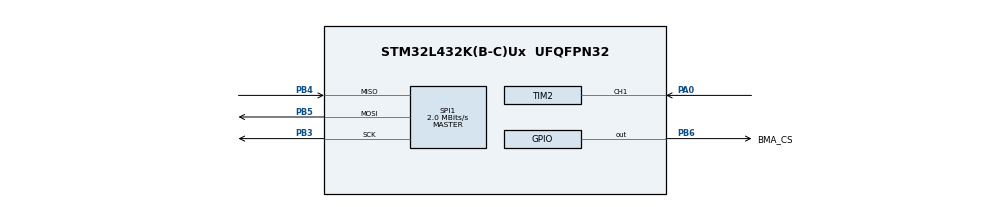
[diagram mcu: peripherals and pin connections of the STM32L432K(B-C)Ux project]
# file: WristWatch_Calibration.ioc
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Mcu.Family=STM32L4
Mcu.Name=STM32L432K(B-C)Ux
Mcu.Package=UFQFPN32
NVIC.PriorityGroup=NVIC_PRIORITYGROUP_4
NVIC.TIM2_IRQn=true\:0\:0\:false\:false\:true\:true\:true
PA0.Signal=S_TIM2_CH1
PA13\ (JTMS-SWDIO).Mode=Serial_Wire
PA13\ (JTMS-SWDIO).Signal=SYS_JTMS-SWDIO
PA14\ (JTCK-SWCLK).Mode=Serial_Wire
PA14\ (JTCK-SWCLK).Signal=SYS_JTCK-SWCLK
PB3\ (JTDO-TRACESWO).Mode=Full_Duplex_Master
PB3\ (JTDO-TRACESWO).Signal=SPI1_SCK
PB4\ (NJTRST).Mode=Full_Duplex_Master
PB4\ (NJTRST).Signal=SPI1_MISO
PB5.Mode=Full_Duplex_Master
PB5.Signal=SPI1_MOSI
PB6.GPIO_Label=BMA_CS
PB6.Signal=GPIO_Output
PC14-OSC32_IN\ (PC14).Mode=LSE-External-Oscillator
PC14-OSC32_IN\ (PC14).Signal=RCC_OSC32_IN
PC15-OSC32_OUT\ (PC15).Mode=LSE-External-Oscillator
PC15-OSC32_OUT\ (PC15).Signal=RCC_OSC32_OUT
ProjectManager.HeapSize=0x200
ProjectManager.StackSize=0x400
ProjectManager.TargetToolchain=STM32CubeIDE
RCC.HSE_VALUE=8000000
RCC.HSI48_VALUE=48000000
RCC.HSI_VALUE=16000000
RCC.MSI_VALUE=4000000
RCC.VCOOutputFreq_Value=32000000
SH.S_TIM2_CH1.0=TIM2_CH1,Input_Capture1_from_TI1
SPI1.CalculateBaudRate=2.0 MBits/s
SPI1.DataSize=SPI_DATASIZE_8BIT
SPI1.Direction=SPI_DIRECTION_2LINES
SPI1.Mode=SPI_MODE_MASTER
SPI1.VirtualType=VM_MASTER
TIM2.Channel-Input_Capture1_from_TI1=TIM_CHANNEL_1
TIM2.ICPrescaler-Input_Capture1_from_TI1=TIM_ICPSC_DIV1
TIM2.Period=0xFFFFFFFF
VP_RTC_VS_RTC_Activate.Mode=RTC_Enabled
VP_TIM2_VS_NoETR.Mode=ClockSourceETR_Mode2_Remap_TIM2
board=custom

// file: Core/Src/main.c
/* USER CODE BEGIN Header */
/**
 ******************************************************************************
 * @file           : main.c
 * @brief          : Main program body
 ******************************************************************************
 * @attention
 *
 * <h2><center>&copy; Copyright (c) 2020 STMicroelectronics.
 * All rights reserved.</center></h2>
 *
 * This software component is licensed by ST under BSD 3-Clause license,
 * the "License"; You may not use this file except in compliance with the
 * License. You may obtain a copy of the License at:
 *                        opensource.org/licenses/BSD-3-Clause
 *
 ******************************************************************************
 */
/* USER CODE END Header */
#include "main.h"

RTC_HandleTypeDef hrtc;

SPI_HandleTypeDef hspi1;

TIM_HandleTypeDef htim2;

void SystemClock_Config(void);
static void MX_GPIO_Init(void);
static void MX_TIM2_Init(void);
static void MX_RTC_Init(void);
static void MX_SPI1_Init(void);

/* USER CODE BEGIN 0 */
enum {
	Init, TestLEDs, WaitForTimer, Finished, Error
} State = Init;
uint8_t Errortype = 0;
uint8_t ErrorVar = 0;
const uint8_t LED_Brightness = 240;

//Maximum of 130000
#define secondsToMeasure 300
int16_t SecondsElapsed = -1;
uint32_t startMeasure = 0;
uint32_t endMeasure = 0;
int64_t diffperppm = 0;

const uint32_t Timerrun_offset = 0x8000 * 8; //Prediv 8
uint32_t DWT_Delay_Init(void) {
	/* Disable TRC */
	CoreDebug->DEMCR &= ~CoreDebug_DEMCR_TRCENA_Msk; // ~0x01000000;
	/* Enable TRC */
	CoreDebug->DEMCR |= CoreDebug_DEMCR_TRCENA_Msk; // 0x01000000;
	/* Disable clock cycle counter */
	DWT->CTRL &= ~DWT_CTRL_CYCCNTENA_Msk; //~0x00000001;
	/* Enable  clock cycle counter */
	DWT->CTRL |= DWT_CTRL_CYCCNTENA_Msk; //0x00000001;
	/* Reset the clock cycle counter value */
	DWT->CYCCNT = 0;
	/* 3 NO OPERATION instructions */
	__ASM volatile ("NOP");
	__ASM volatile ("NOP");
	__ASM volatile ("NOP");
	volatile uint8_t a;
	a++;
	a++;
	a++;
	/* Check if clock cycle counter has started */
	if (DWT->CYCCNT) {
		return 0; /*clock cycle counter started*/
	} else {
		return 1; /*clock cycle counter not started*/
	}
}
__STATIC_INLINE void DWT_Delay_us(volatile uint32_t microseconds) {
	uint32_t clk_cycle_start = DWT->CYCCNT;

	/* Go to number of cycles for system */
	microseconds *= (HAL_RCC_GetHCLKFreq() / 1000000);

	/* Delay till end */
	while ((DWT->CYCCNT - clk_cycle_start) < microseconds)
		;
}
void showLEDs(uint16_t DisplayBuffer[], uint16_t duration) {
	const uint8_t perc = LED_Brightness;
	for (uint16_t j = 0; j < duration; ++j)
		for (uint8_t i = 0; i < 4; ++i) {
			//PORTD=DisplayBuffer[i]|((0b00111100)&(~(1<<(2+i))));
			GPIOA->BSRR = DisplayBuffer[3 - i] | Column[i];
			DWT_Delay_us(perc);
			GPIOA->BSRR = mask_clear;
			DWT_Delay_us(250 - perc);
		}
}

void HAL_TIM_IC_CaptureCallback(TIM_HandleTypeDef *htim) {
	/* Prevent unused argument(s) compilation warning */

	if(SecondsElapsed == -1)
	{
		startMeasure = HAL_TIM_ReadCapturedValue(htim, TIM_CHANNEL_1);
		SecondsElapsed=1;
	}
	else if(SecondsElapsed == secondsToMeasure)
	{
		endMeasure = HAL_TIM_ReadCapturedValue(htim, TIM_CHANNEL_1);
		SecondsElapsed++;
	}
	else if(SecondsElapsed > secondsToMeasure)
	{

	}
	else
	{
		SecondsElapsed++;
	}

}

void writeFlash(uint32_t Address, uint64_t data) {
//	uint32_t Address = FLASH_BASE+FLASH_SIZE-FLASH_PAGE_SIZE;
	HAL_StatusTypeDef status = 0;
	uint64_t currdata = *((uint64_t*) Address);
	if (data != currdata) {
		status = HAL_FLASH_Unlock();
		FLASH_EraseInitTypeDef erase = { 0 };
		erase.TypeErase = FLASH_TYPEERASE_PAGES;
		erase.Banks = FLASH_BANK_1;
		erase.Page = (Address - FLASH_BASE) / PAGESIZE;
		erase.NbPages = 1;
		uint32_t Error = 0;
		status = HAL_FLASHEx_Erase(&erase, &Error);
		status = HAL_FLASH_Program(FLASH_TYPEPROGRAM_DOUBLEWORD, Address, data);
		status = HAL_FLASH_Lock();
		UNUSED(status);
	}
}
uint64_t readFlash(uint32_t Address) {
	return *((uint64_t*) Address);
}

void init_IOs() {
	GPIO_InitTypeDef GPIO_InitStruct = { 0 };

	/* GPIO Ports Clock Enable */
	__HAL_RCC_GPIOC_CLK_ENABLE();
	__HAL_RCC_GPIOA_CLK_ENABLE();
	__HAL_RCC_GPIOB_CLK_ENABLE();
	__HAL_RCC_GPIOH_CLK_ENABLE();

	/*Configure GPIO pin Output Level */
	HAL_GPIO_WritePin(GPIOA,
			LSH01_Pin | LSH10_Pin | HS1_Pin | HS2_Pin | HS8_Pin | HS4_Pin
					| LSM01_Pin | LSM10_Pin, GPIO_PIN_RESET);

	/*Configure GPIO pin Output Level */
	HAL_GPIO_WritePin(BMA_CS_GPIO_Port, BMA_CS_Pin, GPIO_PIN_SET);

	/*Configure GPIO pins : PA1 PA7 PA8 PA15 */
	GPIO_InitStruct.Pin = GPIO_PIN_1 | GPIO_PIN_7 | GPIO_PIN_8 | GPIO_PIN_15;
	GPIO_InitStruct.Mode = GPIO_MODE_ANALOG;
	GPIO_InitStruct.Pull = GPIO_NOPULL;
	HAL_GPIO_Init(GPIOA, &GPIO_InitStruct);

	/*Configure GPIO pins : LSH01_Pin LSH10_Pin HS1_Pin HS2_Pin
	 HS8_Pin HS4_Pin LSM01_Pin LSM10_Pin */
	GPIO_InitStruct.Pin = LSH01_Pin | LSH10_Pin | HS1_Pin | HS2_Pin | HS8_Pin
			| HS4_Pin | LSM01_Pin | LSM10_Pin;
	GPIO_InitStruct.Mode = GPIO_MODE_OUTPUT_PP;
	GPIO_InitStruct.Pull = GPIO_NOPULL;
	GPIO_InitStruct.Speed = GPIO_SPEED_FREQ_LOW;
	HAL_GPIO_Init(GPIOA, &GPIO_InitStruct);

	/*Configure GPIO pins : PB0 PB1 PB7 */
	GPIO_InitStruct.Pin = GPIO_PIN_0 | GPIO_PIN_1 | GPIO_PIN_7;
	GPIO_InitStruct.Mode = GPIO_MODE_ANALOG;
	GPIO_InitStruct.Pull = GPIO_NOPULL;
	HAL_GPIO_Init(GPIOB, &GPIO_InitStruct);

	/*Configure GPIO pin : BMA_CS_Pin */
	GPIO_InitStruct.Pin = BMA_CS_Pin;
	GPIO_InitStruct.Mode = GPIO_MODE_OUTPUT_OD;
	GPIO_InitStruct.Pull = GPIO_NOPULL;
	GPIO_InitStruct.Speed = GPIO_SPEED_FREQ_LOW;
	HAL_GPIO_Init(BMA_CS_GPIO_Port, &GPIO_InitStruct);

	/*Configure GPIO pin : PH3 */
	GPIO_InitStruct.Pin = GPIO_PIN_3;
	GPIO_InitStruct.Mode = GPIO_MODE_ANALOG;
	GPIO_InitStruct.Pull = GPIO_NOPULL;
	HAL_GPIO_Init(GPIOH, &GPIO_InitStruct);
}
/* USER CODE END 0 */

#define WatchVersCodeAddress (FLASH_BASE + FLASH_SIZE - FLASH_PAGE_SIZE + 0x10)

#define Undefined 0xFFFFUL
#define Binary_STM_V1 0x0100UL
#define Analog_STM_V1 0x0200UL
const uint32_t WatchVariant = Binary_STM_V1;

int main(void)
{

  /* MCU Configuration--------------------------------------------------------*/

  /* Reset of all peripherals, Initializes the Flash interface and the Systick. */
  HAL_Init();
  if(0)//just to get rid of warnings
  {
	  MX_GPIO_Init();
	  MX_SPI1_Init();
  }
  /* USER CODE BEGIN Init */
  uint64_t WatchVersCode = *((uint64_t*) WatchVersCodeAddress);
  if((WatchVersCode&0xFFFF) == Undefined)
  {
	  writeFlash(FLASH_BASE + FLASH_SIZE - FLASH_PAGE_SIZE + 0x10, WatchVariant);
  }

  /* USER CODE END Init */

  /* Configure the system clock */
  SystemClock_Config();

  /* Initialize all configured peripherals */
  MX_TIM2_Init();
  MX_RTC_Init();
  /* USER CODE BEGIN 2 */
	DWT_Delay_Init();
	init_IOs();
  /* USER CODE END 2 */

  /* Infinite loop */
  /* USER CODE BEGIN WHILE */
	HAL_TIM_Base_MspInit(&htim2);
	if (HAL_TIM_IC_Start_IT(&htim2, TIM_CHANNEL_1) != HAL_OK) {
		Error_Handler();
		State = Error;
	}
	State = TestLEDs;
	while (1) {
		uint16_t Buffer[4] = { 0 };
		switch (State) {
		case Error:
			init_IOs();
			Buffer[3] = DISP_9;
			Buffer[2] = DISP_6;
			Buffer[1] = DISP_6;
			Buffer[0] = DISP_9;
			break;
		case Finished:
			Buffer[3] = DISP_2;
			Buffer[2] = DISP_1;
			Buffer[1] = DISP_2;
			Buffer[0] = DISP_4;
			break;
		case Init:
		case TestLEDs:
			Buffer[3] = DISP_F;
			Buffer[2] = DISP_F;
			Buffer[1] = DISP_F;
			Buffer[0] = DISP_F;
			if (HAL_GetTick() > 10000)
				State = WaitForTimer;
			break;
		case WaitForTimer:
			if(endMeasure!=0)
			{
				const uint32_t measuredClks = endMeasure -startMeasure;
				const uint32_t calculatedClks = 0x8000*secondsToMeasure;

				const int64_t difference = ((int64_t)calculatedClks-measuredClks);
				int64_t diffperppm1 = (difference*1000000);
				if(diffperppm1<0)//round the Value
					diffperppm1 -= (measuredClks/2);
				else
					diffperppm1 += (measuredClks/2);
				diffperppm = (int64_t)diffperppm1/(int64_t)measuredClks;
				if(diffperppm < 512 && diffperppm > -511)
								{
									uint16_t CALM = 0;
									uint16_t CALP = RTC_SMOOTHCALIB_PLUSPULSES_RESET;
									if (diffperppm > 0) {
										CALP = RTC_SMOOTHCALIB_PLUSPULSES_SET;
										CALM = 512 - diffperppm;
									} else {
										CALM = -diffperppm;
									}
									uint32_t EEPVAL = CALP | CALM;
									writeFlash(FLASH_BASE + FLASH_SIZE - FLASH_PAGE_SIZE, EEPVAL); //Write CalibrationValue to beginning of last Page
									HAL_RTCEx_SetSmoothCalib(&hrtc, RTC_SMOOTHCALIB_PERIOD_32SEC, CALP, CALM);//Correct RTC Immediately, to make sure the values are used even without POR
									//Note CALP, CALM, DEVID and REVID for the STM32L4_HAL.cpp File
									//__asm__("BKPT");
									State=Finished;
								}
								else
								{
									State = Error;
								}

			}
		else {
				uint16_t TimeToGo = secondsToMeasure-SecondsElapsed;
				Buffer[3] = DISP_C;
				Buffer[2] = numToPort[((TimeToGo) / 100) % 10];;
				Buffer[1] = numToPort[((TimeToGo) / 10) % 10];
				Buffer[0] = numToPort[(TimeToGo) % 10];
			}
			break;

		}
		showLEDs(Buffer, 500);
    /* USER CODE END WHILE */

	}
}

void SystemClock_Config(void)
{
  RCC_OscInitTypeDef RCC_OscInitStruct = {0};
  RCC_ClkInitTypeDef RCC_ClkInitStruct = {0};
  RCC_PeriphCLKInitTypeDef PeriphClkInit = {0};

  /** Configure LSE Drive Capability
  */
  HAL_PWR_EnableBkUpAccess();
  __HAL_RCC_LSEDRIVE_CONFIG(RCC_LSEDRIVE_LOW);
  /** Initializes the RCC Oscillators according to the specified parameters
  * in the RCC_OscInitTypeDef structure.
  */
  RCC_OscInitStruct.OscillatorType = RCC_OSCILLATORTYPE_LSI|RCC_OSCILLATORTYPE_LSE
                              |RCC_OSCILLATORTYPE_MSI;
  RCC_OscInitStruct.LSEState = RCC_LSE_ON;
  RCC_OscInitStruct.LSIState = RCC_LSI_ON;
  RCC_OscInitStruct.MSIState = RCC_MSI_ON;
  RCC_OscInitStruct.MSICalibrationValue = 0;
  RCC_OscInitStruct.MSIClockRange = RCC_MSIRANGE_6;
  RCC_OscInitStruct.PLL.PLLState = RCC_PLL_NONE;
  if (HAL_RCC_OscConfig(&RCC_OscInitStruct) != HAL_OK)
  {
    Error_Handler();
  }
  /** Initializes the CPU, AHB and APB buses clocks
  */
  RCC_ClkInitStruct.ClockType = RCC_CLOCKTYPE_HCLK|RCC_CLOCKTYPE_SYSCLK
                              |RCC_CLOCKTYPE_PCLK1|RCC_CLOCKTYPE_PCLK2;
  RCC_ClkInitStruct.SYSCLKSource = RCC_SYSCLKSOURCE_MSI;
  RCC_ClkInitStruct.AHBCLKDivider = RCC_SYSCLK_DIV1;
  RCC_ClkInitStruct.APB1CLKDivider = RCC_HCLK_DIV1;
  RCC_ClkInitStruct.APB2CLKDivider = RCC_HCLK_DIV1;

  if (HAL_RCC_ClockConfig(&RCC_ClkInitStruct, FLASH_LATENCY_0) != HAL_OK)
  {
    Error_Handler();
  }
  PeriphClkInit.PeriphClockSelection = RCC_PERIPHCLK_RTC;
  PeriphClkInit.RTCClockSelection = RCC_RTCCLKSOURCE_LSI;
  if (HAL_RCCEx_PeriphCLKConfig(&PeriphClkInit) != HAL_OK)
  {
    Error_Handler();
  }
  /** Configure the main internal regulator output voltage
  */
  if (HAL_PWREx_ControlVoltageScaling(PWR_REGULATOR_VOLTAGE_SCALE1) != HAL_OK)
  {
    Error_Handler();
  }
  /** Enable MSI Auto calibration
  */
  HAL_RCCEx_EnableMSIPLLMode();
}

static void MX_RTC_Init(void)
{

  /** Initialize RTC Only
  */
  hrtc.Instance = RTC;
  hrtc.Init.HourFormat = RTC_HOURFORMAT_24;
  hrtc.Init.AsynchPrediv = 127;
  hrtc.Init.SynchPrediv = 255;
  hrtc.Init.OutPut = RTC_OUTPUT_DISABLE;
  hrtc.Init.OutPutRemap = RTC_OUTPUT_REMAP_NONE;
  hrtc.Init.OutPutPolarity = RTC_OUTPUT_POLARITY_HIGH;
  hrtc.Init.OutPutType = RTC_OUTPUT_TYPE_OPENDRAIN;
  if (HAL_RTC_Init(&hrtc) != HAL_OK)
  {
    Error_Handler();
  }

}

static void MX_SPI1_Init(void)
{

  /* SPI1 parameter configuration*/
  hspi1.Instance = SPI1;
  hspi1.Init.Mode = SPI_MODE_MASTER;
  hspi1.Init.Direction = SPI_DIRECTION_2LINES;
  hspi1.Init.DataSize = SPI_DATASIZE_8BIT;
  hspi1.Init.CLKPolarity = SPI_POLARITY_LOW;
  hspi1.Init.CLKPhase = SPI_PHASE_1EDGE;
  hspi1.Init.NSS = SPI_NSS_SOFT;
  hspi1.Init.BaudRatePrescaler = SPI_BAUDRATEPRESCALER_2;
  hspi1.Init.FirstBit = SPI_FIRSTBIT_MSB;
  hspi1.Init.TIMode = SPI_TIMODE_DISABLE;
  hspi1.Init.CRCCalculation = SPI_CRCCALCULATION_DISABLE;
  hspi1.Init.CRCPolynomial = 7;
  hspi1.Init.CRCLength = SPI_CRC_LENGTH_DATASIZE;
  hspi1.Init.NSSPMode = SPI_NSS_PULSE_ENABLE;
  if (HAL_SPI_Init(&hspi1) != HAL_OK)
  {
    Error_Handler();
  }

}

static void MX_TIM2_Init(void)
{

  TIM_ClockConfigTypeDef sClockSourceConfig = {0};
  TIM_MasterConfigTypeDef sMasterConfig = {0};
  TIM_IC_InitTypeDef sConfigIC = {0};

  htim2.Instance = TIM2;
  htim2.Init.Prescaler = 0;
  htim2.Init.CounterMode = TIM_COUNTERMODE_UP;
  htim2.Init.Period = 0xFFFFFFFF;
  htim2.Init.ClockDivision = TIM_CLOCKDIVISION_DIV1;
  htim2.Init.AutoReloadPreload = TIM_AUTORELOAD_PRELOAD_DISABLE;
  if (HAL_TIM_Base_Init(&htim2) != HAL_OK)
  {
    Error_Handler();
  }
  sClockSourceConfig.ClockSource = TIM_CLOCKSOURCE_ETRMODE2;
  sClockSourceConfig.ClockPolarity = TIM_CLOCKPOLARITY_NONINVERTED;
  sClockSourceConfig.ClockPrescaler = TIM_CLOCKPRESCALER_DIV1;
  sClockSourceConfig.ClockFilter = 0;
  if (HAL_TIM_ConfigClockSource(&htim2, &sClockSourceConfig) != HAL_OK)
  {
    Error_Handler();
  }
  if (HAL_TIM_IC_Init(&htim2) != HAL_OK)
  {
    Error_Handler();
  }
  sMasterConfig.MasterOutputTrigger = TIM_TRGO_RESET;
  sMasterConfig.MasterSlaveMode = TIM_MASTERSLAVEMODE_DISABLE;
  if (HAL_TIMEx_MasterConfigSynchronization(&htim2, &sMasterConfig) != HAL_OK)
  {
    Error_Handler();
  }
  if (HAL_TIMEx_RemapConfig(&htim2, TIM_TIM2_ITR1_USB_SOF|TIM_TIM2_ETR_LSE) != HAL_OK)
  {
    Error_Handler();
  }
  sConfigIC.ICPolarity = TIM_INPUTCHANNELPOLARITY_RISING;
  sConfigIC.ICSelection = TIM_ICSELECTION_DIRECTTI;
  sConfigIC.ICPrescaler = TIM_ICPSC_DIV1;
  sConfigIC.ICFilter = 0;
  if (HAL_TIM_IC_ConfigChannel(&htim2, &sConfigIC, TIM_CHANNEL_1) != HAL_OK)
  {
    Error_Handler();
  }

}

static void MX_GPIO_Init(void)
{
  GPIO_InitTypeDef GPIO_InitStruct = {0};

  /* GPIO Ports Clock Enable */
  __HAL_RCC_GPIOC_CLK_ENABLE();
  __HAL_RCC_GPIOA_CLK_ENABLE();
  __HAL_RCC_GPIOB_CLK_ENABLE();

  /*Configure GPIO pin Output Level */
  HAL_GPIO_WritePin(BMA_CS_GPIO_Port, BMA_CS_Pin, GPIO_PIN_RESET);

  /*Configure GPIO pin : BMA_CS_Pin */
  GPIO_InitStruct.Pin = BMA_CS_Pin;
  GPIO_InitStruct.Mode = GPIO_MODE_OUTPUT_PP;
  GPIO_InitStruct.Pull = GPIO_NOPULL;
  GPIO_InitStruct.Speed = GPIO_SPEED_FREQ_LOW;
  HAL_GPIO_Init(BMA_CS_GPIO_Port, &GPIO_InitStruct);

}

void Error_Handler(void)
{
}

/************************ (C) COPYRIGHT STMicroelectronics *****END OF FILE****/
